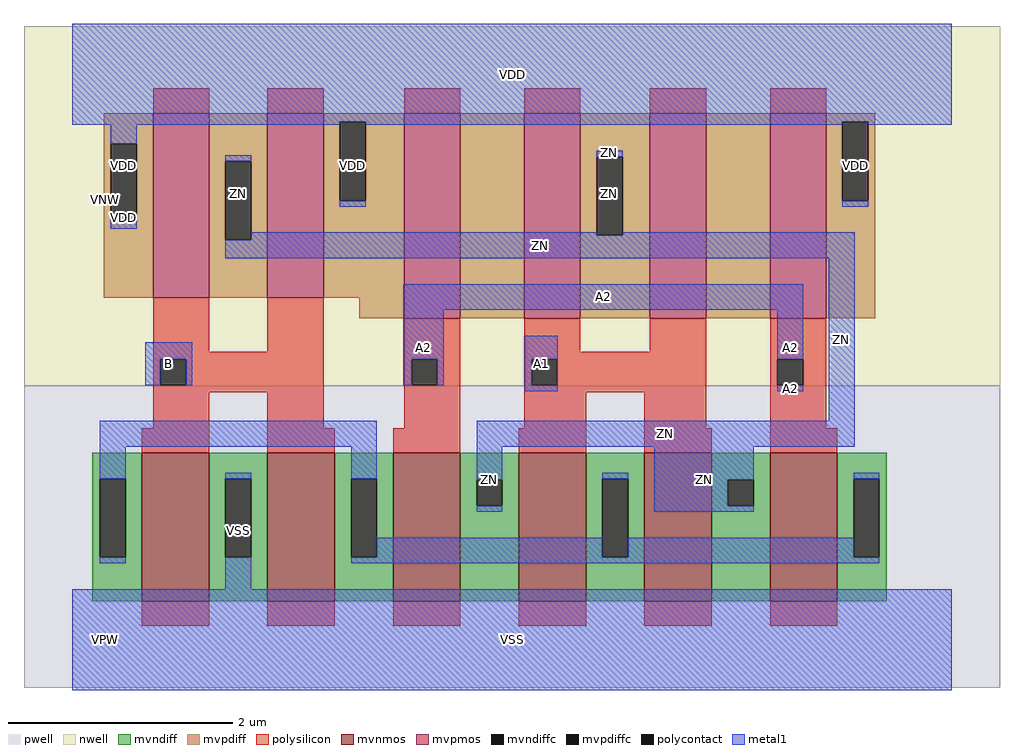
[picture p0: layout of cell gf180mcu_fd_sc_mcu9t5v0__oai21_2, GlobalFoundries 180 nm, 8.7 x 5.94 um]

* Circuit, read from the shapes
.subckt gf180mcu_fd_sc_mcu9t5v0__oai21_2 A1 A2 B ZN VDD VNW VPW VSS
XM1 VSS B n1 VPW nfet_06v0 w=1.32u l=0.6u m=2
XM2 ZN A2 n1 VPW nfet_06v0 w=1.32u l=0.6u m=2
XM3 n1 A1 ZN VPW nfet_06v0 w=1.32u l=0.6u m=2
XM4 ZN B VDD VNW pfet_06v0 w=1.645u l=0.5u m=2
XM5 n2 A2 VDD VNW pfet_06v0 w=1.83u l=0.5u
XM6 ZN A1 n2 VNW pfet_06v0 w=1.83u l=0.5u
XM7 n3 A1 ZN VNW pfet_06v0 w=1.83u l=0.5u
XM8 VDD A2 n3 VNW pfet_06v0 w=1.83u l=0.5u
.ends

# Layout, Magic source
magic
tech gf180mcuD
magscale 1 10
<< nwell >>
rect -86 453 1654 1094
<< pwell >>
rect -86 -86 1654 453
<< mvnmos >>
rect 124 69 244 333
rect 348 69 468 333
rect 572 69 692 333
rect 796 69 916 333
rect 1020 69 1140 333
rect 1244 69 1364 333
<< mvpmos >>
rect 144 610 244 939
rect 348 610 448 939
rect 592 573 692 939
rect 806 573 906 939
rect 1030 573 1130 939
rect 1244 573 1344 939
<< mvndiff >>
rect 36 287 124 333
rect 36 147 49 287
rect 95 147 124 287
rect 36 69 124 147
rect 244 287 348 333
rect 244 147 273 287
rect 319 147 348 287
rect 244 69 348 147
rect 468 287 572 333
rect 468 147 497 287
rect 543 147 572 287
rect 468 69 572 147
rect 692 285 796 333
rect 692 239 721 285
rect 767 239 796 285
rect 692 69 796 239
rect 916 287 1020 333
rect 916 147 945 287
rect 991 147 1020 287
rect 916 69 1020 147
rect 1140 285 1244 333
rect 1140 239 1169 285
rect 1215 239 1244 285
rect 1140 69 1244 239
rect 1364 287 1452 333
rect 1364 147 1393 287
rect 1439 147 1452 287
rect 1364 69 1452 147
<< mvpdiff >>
rect 56 884 144 939
rect 56 744 69 884
rect 115 744 144 884
rect 56 610 144 744
rect 244 853 348 939
rect 244 713 273 853
rect 319 713 348 853
rect 244 610 348 713
rect 448 923 592 939
rect 448 783 477 923
rect 523 783 592 923
rect 448 610 592 783
rect 512 573 592 610
rect 692 573 806 939
rect 906 861 1030 939
rect 906 721 935 861
rect 981 721 1030 861
rect 906 573 1030 721
rect 1130 573 1244 939
rect 1344 923 1432 939
rect 1344 783 1373 923
rect 1419 783 1432 923
rect 1344 573 1432 783
<< mvndiffc >>
rect 49 147 95 287
rect 273 147 319 287
rect 497 147 543 287
rect 721 239 767 285
rect 945 147 991 287
rect 1169 239 1215 285
rect 1393 147 1439 287
<< mvpdiffc >>
rect 69 744 115 884
rect 273 713 319 853
rect 477 783 523 923
rect 935 721 981 861
rect 1373 783 1419 923
<< polysilicon >>
rect 144 939 244 983
rect 348 939 448 983
rect 592 939 692 983
rect 806 939 906 983
rect 1030 939 1130 983
rect 1244 939 1344 983
rect 144 513 244 610
rect 348 513 448 610
rect 144 500 448 513
rect 144 454 157 500
rect 203 454 448 500
rect 144 441 448 454
rect 144 377 244 441
rect 124 333 244 377
rect 348 377 448 441
rect 592 500 692 573
rect 592 454 605 500
rect 651 454 692 500
rect 592 377 692 454
rect 806 513 906 573
rect 1030 513 1130 573
rect 806 500 1130 513
rect 806 454 819 500
rect 865 454 1130 500
rect 806 441 1130 454
rect 806 377 916 441
rect 348 333 468 377
rect 572 333 692 377
rect 796 333 916 377
rect 1020 377 1130 441
rect 1244 500 1344 573
rect 1244 454 1257 500
rect 1303 454 1344 500
rect 1244 377 1344 454
rect 1020 333 1140 377
rect 1244 333 1364 377
rect 124 25 244 69
rect 348 25 468 69
rect 572 25 692 69
rect 796 25 916 69
rect 1020 25 1140 69
rect 1244 25 1364 69
<< polycontact >>
rect 157 454 203 500
rect 605 454 651 500
rect 819 454 865 500
rect 1257 454 1303 500
<< metal1 >>
rect 0 923 1568 1098
rect 0 918 477 923
rect 69 884 115 918
rect 69 733 115 744
rect 273 853 319 864
rect 523 918 1373 923
rect 477 772 523 783
rect 935 861 981 872
rect 319 721 935 726
rect 1419 918 1568 923
rect 1373 772 1419 783
rect 981 721 1395 726
rect 319 713 1395 721
rect 273 680 1395 713
rect 590 588 1303 634
rect 130 500 214 530
rect 130 454 157 500
rect 203 454 214 500
rect 590 500 662 588
rect 590 454 605 500
rect 651 454 662 500
rect 807 500 866 542
rect 807 454 819 500
rect 865 454 866 500
rect 807 443 866 454
rect 1257 500 1303 588
rect 1257 443 1303 454
rect 1349 390 1395 680
rect 49 344 543 390
rect 49 287 95 344
rect 49 136 95 147
rect 273 287 319 298
rect 273 90 319 147
rect 497 287 543 344
rect 721 344 1395 390
rect 721 285 767 344
rect 721 228 767 239
rect 945 287 991 298
rect 543 147 945 182
rect 1038 285 1215 344
rect 1038 239 1169 285
rect 1038 228 1215 239
rect 1393 287 1439 298
rect 991 147 1393 182
rect 497 136 1439 147
rect 0 -90 1568 90
<< labels >>
flabel metal1 s 807 443 866 542 0 FreeSans 200 0 0 0 A1
port 1 nsew default input
flabel metal1 s 590 588 1303 634 0 FreeSans 200 0 0 0 A2
port 2 nsew default input
flabel metal1 s 130 454 214 530 0 FreeSans 200 0 0 0 B
port 3 nsew default input
flabel metal1 s 0 918 1568 1098 0 FreeSans 200 0 0 0 VDD
port 5 nsew power bidirectional abutment
flabel metal1 s 273 90 319 298 0 FreeSans 200 0 0 0 VSS
port 8 nsew ground bidirectional abutment
flabel metal1 s 935 864 981 872 0 FreeSans 200 0 0 0 ZN
port 4 nsew default output
flabel nwell s 10 734 110 834 0 FreeSans 400 0 0 0 VNW
port 6 nsew power bidirectional
flabel pwell s 10 -50 110 50 0 FreeSans 400 0 0 0 VPW
port 7 nsew ground bidirectional
rlabel metal1 s 1257 454 1303 588 1 A2
port 2 nsew default input
rlabel metal1 s 590 454 662 588 1 A2
port 2 nsew default input
rlabel metal1 s 1257 443 1303 454 1 A2
port 2 nsew default input
rlabel metal1 s 935 726 981 864 1 ZN
port 4 nsew default output
rlabel metal1 s 273 726 319 864 1 ZN
port 4 nsew default output
rlabel metal1 s 273 680 1395 726 1 ZN
port 4 nsew default output
rlabel metal1 s 1349 390 1395 680 1 ZN
port 4 nsew default output
rlabel metal1 s 721 344 1395 390 1 ZN
port 4 nsew default output
rlabel metal1 s 1038 228 1215 344 1 ZN
port 4 nsew default output
rlabel metal1 s 721 228 767 344 1 ZN
port 4 nsew default output
rlabel metal1 s 1373 772 1419 918 1 VDD
port 5 nsew power bidirectional abutment
rlabel metal1 s 477 772 523 918 1 VDD
port 5 nsew power bidirectional abutment
rlabel metal1 s 69 772 115 918 1 VDD
port 5 nsew power bidirectional abutment
rlabel metal1 s 69 733 115 772 1 VDD
port 5 nsew power bidirectional abutment
rlabel metal1 s 0 -90 1568 90 1 VSS
port 8 nsew ground bidirectional abutment
<< properties >>
string FIXED_BBOX 0 0 1568 1008
string GDS_END 121888
string GDS_FILE $PDKPATH/libs.ref/gf180mcu_fd_sc_mcu9t5v0/gds/gf180mcu_fd_sc_mcu9t5v0.gds
string GDS_START 117486
string LEFclass core
string LEFsite GF018hv5v_green_sc9
string LEFsymmetry X Y
<< end >>
